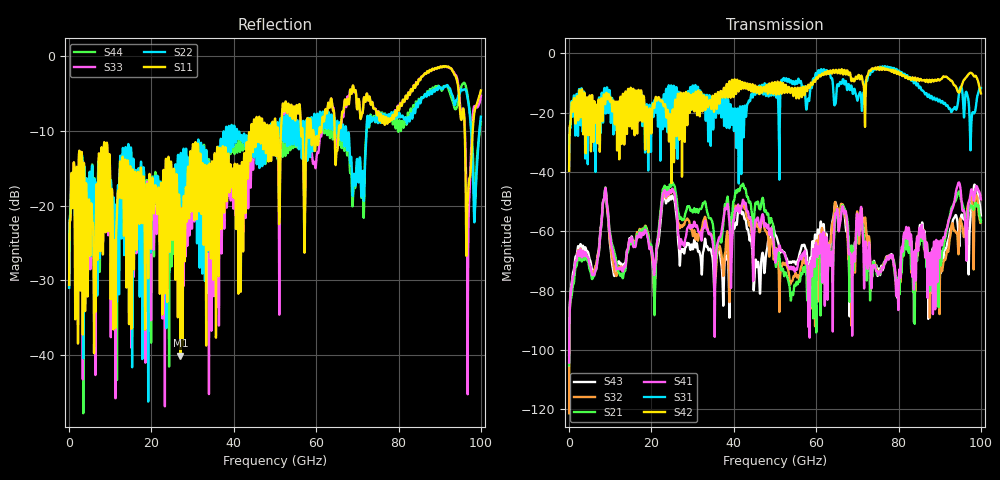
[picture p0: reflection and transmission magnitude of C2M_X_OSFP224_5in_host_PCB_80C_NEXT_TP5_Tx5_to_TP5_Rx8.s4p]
# GHz S RI R 45
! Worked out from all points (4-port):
!   4000 points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, 25 MHz to 100 GHz, reference 45 ohm
!   strongest paths, dB at 25 MHz, 25.02 GHz, 50.02 GHz, 75.03 GHz, 100 GHz:
!     S42: -39.6, -21.5, -9.9, -4.7, -13.5
!     S31: -39.0, -15.9, -10.9, -5.2, -11.7
!     S41: -104.2, -45.9, -69.9, -74.6, -49.2
!     S21: -105.2, -43.7, -68.8, -73.9, -56.9
!     S32: -121.3, -45.8, -66.1, -73.9, -56.5
!     S43: -101.7, -48.1, -61.0, -74.3, -54.7
!   lowest |S11| = -40.1 dB at 27.05 GHz (marker M1), VSWR 1.02, Z = 45.8 - j0.496 ohm
!   |S11| at or under -10 dB: start of sweep to 44.22 GHz; 59.34 GHz to 60.74 GHz (1.403 GHz wide, 2.34 % of centre); 96.08 GHz to 98.01 GHz (1.929 GHz wide, 1.99 % of centre) (the widest 3 of 20)
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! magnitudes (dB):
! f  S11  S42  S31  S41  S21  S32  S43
! 25 MHz  -30.6  -39.6  -39.0  -104.2  -105.2  -121.3  -101.7
! 8.65 GHz  -12.1  -15.8  -11.9  -47.4  -47.4  -47.6  -47.6
! 12.72 GHz  -19.0  -23.8  -19.8  -72.2  -74.2  -71.8  -70.9
! 27.05 GHz  -40.1  -13.4  -20.4  -63.8  -55.5  -58.4  -68.1
! 64.78 GHz  -14.2  -5.6  -16.6  -54.2  -53.6  -51.4  -50.6
! 79.7 GHz  -7.0  -6.7  -5.9  -76.5  -79.3  -76.2  -81.1
! 100 GHz  -4.6  -13.5  -11.7  -49.2  -56.9  -56.5  -54.7
